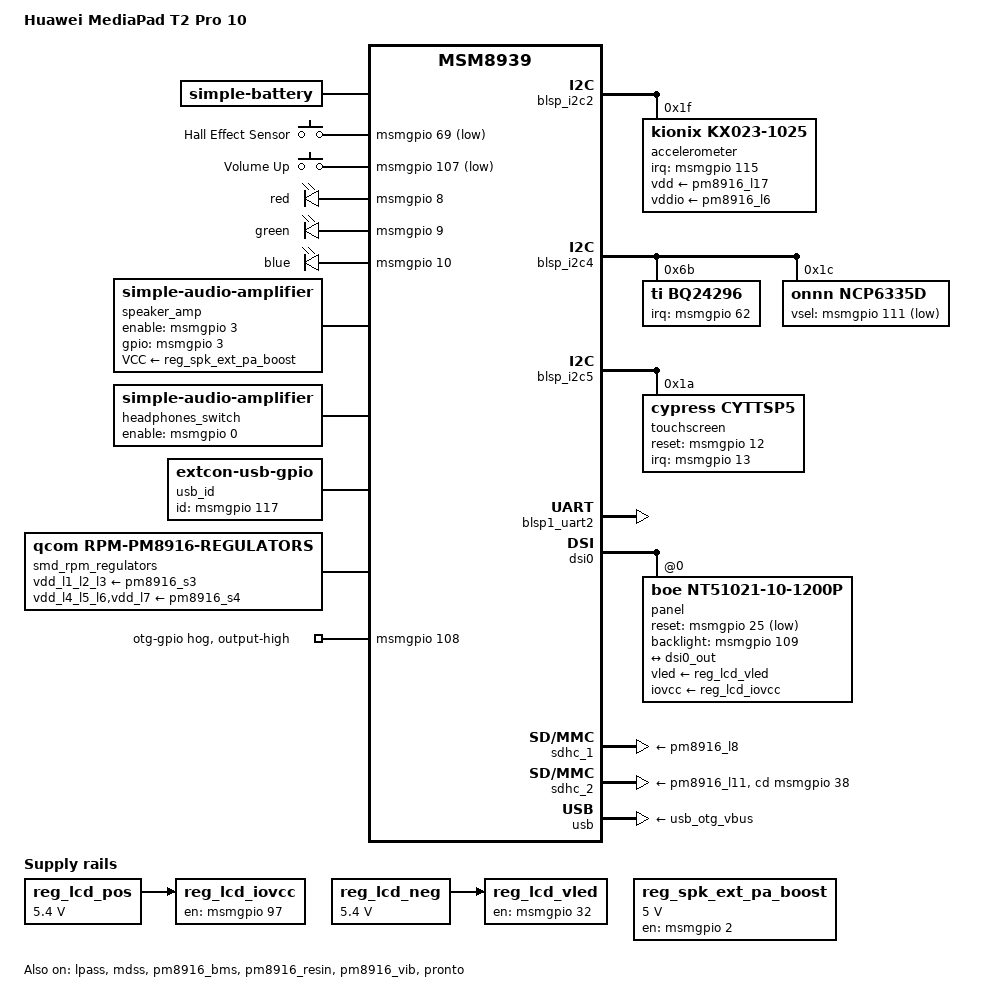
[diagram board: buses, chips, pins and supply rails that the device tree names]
// SPDX-License-Identifier: GPL-2.0-only

/dts-v1/;

#include "msm8939.dtsi"
#include "pm8916.dtsi"
#include <dt-bindings/gpio/gpio.h>
#include <dt-bindings/input/input.h>
#include <dt-bindings/interrupt-controller/irq.h>
#include <dt-bindings/sound/apq8016-lpass.h>

/ {
	model = "Huawei MediaPad T2 Pro 10";
	compatible = "huawei,federer", "qcom,msm8939";
	chassis-type = "tablet";
	qcom,msm-id = <239 0>;
	qcom,board-id =	<8000 0>, <8000 4>,
                    <8016 0>, <8016 4>,
                    <8032 0>, <8032 4>,
                    <8112 0>, <8112 4>,
                    <8128 0>, <8128 4>;

	aliases {
		serial0 = &blsp1_uart2;
	};

	chosen {
		stdout-path = "serial0";
	};

	reserved-memory {
		/delete-node/ venus@90000000;
		/delete-node/ rmtfs@86681000;
		/delete-node/ rfsa@867e0000;
		/delete-node/ mba@8ea00000;

		cont_splash_mem: framebuffer@83000000 {
			compatible = "removed-dma-pool";
			reg = <0x0 0x83000000 0x0 0x2000000>;
			no-map;
		};

		reserved@85000000 {
			reg = <0x0 0x85000000 0x0 0x1000000>;
			no-map;
		};

		rmtfs@86690000 {
			compatible = "qcom,rmtfs-mem";
			reg = <0x0 0x86690000 0x0 0x100000>;
			no-map;
			qcom,client-id = <1>;
		};

		gps_mem: gps@8c400000 {
			status = "disabled";
			reg = <0x0 0x8c400000 0x0 0x200000>;
			no-map;
		};

		tz-apps@8c700000 {
			reg = <0x0 0x8c700000 0x0 0x400000>;
			no-map;
		};

		ramoops: ramoops_mem_region@8cb00000 {
			compatible = "ramoops";
			reg = <0x0 0x8cb00000 0x0 0x200000>;

			record-size = <65536>;
			console-size = <1048576>;
			ftrace-size = <0>;
		};

		venus_mem: venus@8f800000 {
			reg = <0x0 0x8f800000 0x0 0x800000>;
			no-map;
		};

		reserved@f7800000 {
			reg = <0x0 0xf7800000 0x0 0x8400000>;
			no-map;
		};

		mba_mem: mba@ffc00000 {
			reg = <0 0xffc00000 0 0x400000>;
			no-map;
		};
	};

	bat: battery {
		compatible = "simple-battery";
		voltage-min-design-microvolt = <3400000>;
		voltage-max-design-microvolt = <4350000>;
		energy-full-design-microwatt-hours = <24700000>;
		charge-full-design-microamp-hours = <6500000>;

        precharge-current-microamp = <1300000>;
        charge-term-current-microamp = <650000>;

		ocv-capacity-celsius = <25>;
		ocv-capacity-table-0 = <4314000 100>, <4252000 95>, <4197000 90>,
					<4143000 85>, <4092000 80>, <4044000 75>, <3999000 70>,
					<3953000 65>, <3905000 60>, <3868000 55>, <3841000 50>,
					<3818000 45>, <3799000 40>, <3783000 35>, <3767000 30>,
					<3748000 25>, <3724000 20>, <3699000 16>, <3678000 13>,
					<3671000 11>, <3668000 10>, <3664000 9>, <3659000 8>,
					<3649000 7>, <3627000 6>, <3588000 5>, <3535000 4>,
					<3469000 3>, <3381000 2>, <3252000 1>, <3000000 0>;
	};

	gpio-hall-sensor {
		compatible = "gpio-keys";

		pinctrl-names = "default";
		pinctrl-0 = <&gpio_hall_sensor_default>;

		label = "GPIO Hall Effect Sensor";

		hall-sensor {
			label = "Hall Effect Sensor";
			gpios = <&msmgpio 69 GPIO_ACTIVE_LOW>;
			linux,input-type = <EV_SW>;
			linux,code = <SW_LID>;
			linux,can-disable;
		};
	};

	gpio-keys {
		compatible = "gpio-keys";

		pinctrl-names = "default";

		label = "GPIO Buttons";

		volume-up {
			label = "Volume Up";
			gpios = <&msmgpio 107 GPIO_ACTIVE_LOW>;
			linux,code = <KEY_VOLUMEUP>;
		};
	};

	leds {
		compatible = "gpio-leds";

		pinctrl-names = "default";
		pinctrl-0 = <&gpio_leds_default>;

		led-0 {
			gpios = <&msmgpio 8 GPIO_ACTIVE_HIGH>;
			label = "red";
			default-state = "off";
			retain-state-suspended;
		};

		led-1 {
			gpios = <&msmgpio 9 GPIO_ACTIVE_HIGH>;
			label = "green";
			default-state = "off";
			retain-state-suspended;
		};

		led-2 {
			gpios = <&msmgpio 10 GPIO_ACTIVE_HIGH>;
			label = "blue";
			default-state = "off";
			retain-state-suspended;
		};
	};

	reg_lcd_iovcc: iovcc {
		compatible = "regulator-fixed";
		regulator-name = "iovcc";
		vin-supply = <&reg_lcd_pos>;	
		gpio = <&msmgpio 97 GPIO_ACTIVE_HIGH>;
		enable-active-high;
		//regulator-always-on;
		regulator-boot-on;
		pinctrl-names = "default";
		pinctrl-0 = <&lcd_iovcc_default>;
	};

	reg_lcd_vled: vled {
		compatible = "regulator-fixed";
		regulator-name = "vled";
		vin-supply = <&reg_lcd_neg>;		
		gpio = <&msmgpio 32 GPIO_ACTIVE_HIGH>;
		enable-active-high;
		//regulator-always-on;
		regulator-boot-on;
		pinctrl-names = "default";
		pinctrl-0 = <&lcd_vled_default>;
	};

	reg_lcd_pos: regulator-lcd-pos {
		compatible = "regulator-fixed";
		regulator-name = "lcd_pos";
		regulator-min-microvolt = <5400000>;
		regulator-max-microvolt = <5400000>;
		//regulator-always-on;
		regulator-boot-on;
	};

	reg_lcd_neg: regulator-lcd-neg {
		compatible = "regulator-fixed";
		regulator-name = "lcd_neg";
		regulator-min-microvolt = <5400000>;
		regulator-max-microvolt = <5400000>;
		//regulator-always-on;
		regulator-boot-on;
	};

	/*reg_vcc5v0: vcc5v0 {
		compatible = "regulator-fixed";
		regulator-name = "vcc5v0";
		regulator-min-microvolt = <5000000>;
		regulator-max-microvolt = <5000000>;
		regulator-always-on;

		gpio = <&msmgpio 2 GPIO_ACTIVE_HIGH>;
		enable-active-high;
		pinctrl-names = "default";
		pinctrl-0 = <&vcc5v0_en_default>;
	};*/

	speaker_amp: audio-amplifier {
		compatible = "simple-audio-amplifier";
        VCC-supply = <&reg_spk_ext_pa_boost>;
		enable-gpios = <&msmgpio 3 GPIO_ACTIVE_HIGH>;
		sound-name-prefix = "Speaker Amp";

		gpio = <&msmgpio 3 GPIO_ACTIVE_HIGH>;
		enable-active-high;
        startup-delay-us = <100>;
		pinctrl-names = "default";
		pinctrl-0 = <&speaker_amp_default>;
	};

	headphones_switch: audio-switch {
		compatible = "simple-audio-amplifier";
		enable-gpios = <&msmgpio 0 GPIO_ACTIVE_HIGH>;

		pinctrl-names = "default";
		pinctrl-0 = <&headphones_switch_default>;
		sound-name-prefix = "Headphones Switch";
	};

	usb_id: usb-id {
		compatible = "linux,extcon-usb-gpio";
		id-gpio = <&msmgpio 117 GPIO_ACTIVE_HIGH>;
		pinctrl-names = "default";
		pinctrl-0 = <&usb_id_default>;
	};

	reg_spk_ext_pa_boost: spk-ext-pa-boost {
		compatible = "regulator-fixed";
		regulator-name = "spk_ext_pa_boost";
		regulator-min-microvolt = <5000000>;
		regulator-max-microvolt = <5000000>;

		gpio = <&msmgpio 2 GPIO_ACTIVE_HIGH>;
		enable-active-high;
		pinctrl-names = "default";
		pinctrl-0 = <&spk_ext_pa_boost_default>;
	};
};

&blsp_dma {
	status = "okay";
};

&blsp_i2c2 {
	status = "okay";

	accelerometer@1f {
		compatible = "kionix,kx023-1025";
		reg = <0x1f>;

		interrupt-parent = <&msmgpio>;
		interrupts = <115 IRQ_TYPE_EDGE_RISING>;

		vdd-supply = <&pm8916_l17>;
		vddio-supply = <&pm8916_l6>;

		pinctrl-names = "default";
		pinctrl-0 = <&accel_irq_default>;

		mount-matrix =  "-1", "0", "0",
				"0", "-1", "0",
				"0", "0", "1";
        };
};

&blsp_i2c4 {
	status = "okay";

	/* charger: bq24296@6B { // fot ti reference driver
		compatible = "ti,bq24296";
		reg = <0x6B>;
		
		//monitored-battery = <&bat>;
		interrupt-parent = <&msmgpio>;
		interrupts = <62 IRQ_TYPE_EDGE_FALLING>;
		
		pinctrl-names = "default", "sleep";
		pinctrl-0 = <&bq_irq_default>; // &bq_dc_irq_default>;
		pinctrl-1 = <&bq_irq_sleep>;
		
		ti,bq2429x,usb-vlim = <4400>;
		ti,bq2429x,usb-ilim = <500>;
		ti,bq2429x,usb-ichg = <500>;
		ti,bq2429x,usb-vreg = <4200>;

		ti,bq2429x,ta-vlim = <4400>;
		ti,bq2429x,ta-ilim = <2000>;
		ti,bq2429x,ta-ichg = <2000>;
		ti,bq2429x,ta-vreg = <4200>;		
			
		ti,bq2429x,precharge-current = <180>;
		ti,bq2429x,termination-current = <180>;
		ti,bq2429x,boost-volt = <5000>;
		ti,bq2429x,enable_term;
	};*/

	/*charger: bq24296@6b { //charger gd
		compatible = "ti,bq24296";
		reg = <0x6b>;

		monitored-battery = <&bat>;
		ti,chg_current = <1000 500 2000>; // chg_current (max for the battery), usb_input_current, adp_input_current

		interrupt-parent = <&msmgpio>;
		interrupts = <62 IRQ_TYPE_EDGE_FALLING>;
		dc-det = <108 GPIO_ACTIVE_LOW>;*/
		
		/*pinctrl-names = "default", "sleep";
		pinctrl-0 = <&bq_irq_default &bq_dc_default>;
		pinctrl-1 = <&bq_irq_sleep>;*/

	/*	regulators {
			vsys_reg: vsys_regulator {
				regulator-compatible = "bq2429x-vsys";
				regulator-name = "vsys";
//				regulator-min-microvolt = <3500000>;
//				regulator-max-microvolt = <4200000>;
				regulator-always-on;
				regulator-boot-on;
			};
			otg_reg: otg_regulator {
				regulator-compatible = "bq2429x-otg";
				regulator-name = "otg";
//				regulator-min-microvolt = <4900000>;
//				regulator-max-microvolt = <5100000>;
			};
		};
	};*/

	bq24296: charger@6b {
		compatible = "ti,bq24296";
		reg = <0x6b>;

		interrupt-parent = <&msmgpio>;
		interrupts = <62 IRQ_TYPE_EDGE_FALLING>;
		pinctrl-names = "default";
		pinctrl-0 = <&charger_irq_default &chg_ctl_default>; // &otg_en>;
		ti,system-minimum-microvolt = <3200000>;
		monitored-battery = <&bat>;
		omit-battery-class;

		usb_otg_vbus: usb-otg-vbus { };
	};

	ncp6335d: ncp6335d-regulator@1c {
		compatible = "onnn,ncp6335d";
		reg = <0x1c>;
		pinctrl-names = "default";
		pinctrl-0 = <&ext_buck_vsel>;
		regulator-min-microvolt = <1050000>;
		regulator-max-microvolt = <1350000>;
		regulator-always-on; // otherwise device ~shuts off after ~30s
		onnn,vsel = <0>;
		onnn,slew-ns = <3333>;
		onnn,step-size = <6250>;
		onnn,min-slew-ns = <416>;
		onnn,max-slew-ns = <3333>;
		onnn,min-setpoint = <600000>;
		onnn,vsel-gpio = <&msmgpio 111 GPIO_ACTIVE_LOW>;
		onnn,discharge-enable;
		onnn,restore-reg;
	};

	fan53555: fan53555-regulator@60 {
		status = "disabled";
		compatible = "fcs,fan53555";
		reg = <0x60>;
		pinctrl-names = "default";
		pinctrl-0 = <&ext_buck_vsel>;
		regulator-min-microvolt =  <1050000>;
		regulator-max-microvolt = <1350000>;
		regulator-ramp-delay = <1250>;
		regulator-always-on;
		vsel-gpios = <&msmgpio 111 GPIO_ACTIVE_LOW>;
	};
};

&blsp_i2c5 {
	status = "okay";

	touchscreen@1a {
		compatible = "cypress,cyttsp5";
		reg = <0x1a>;

		interrupt-parent = <&msmgpio>;
		interrupts = <13 0x2008>;
		reset-gpios = <&msmgpio 12 0x0>;
	};
};

&blsp1_uart2 {
	status = "okay";
};

&dsi0 {
	/*pinctrl-names = "default", "sleep";
	pinctrl-0 = <&mdss_default>;
	pinctrl-1 = <&mdss_sleep>;*/

	panel@0 {
		compatible = "boe,nt51021-10-1200p";
		reg = <0>;

		vled-supply = <&reg_lcd_vled>;
		iovcc-supply = <&reg_lcd_iovcc>;
		//pp1800-supply = <&pp1800_lcd>;

		reset-gpios = <&msmgpio 25 GPIO_ACTIVE_LOW>;
		backlight-gpios = <&msmgpio 109 GPIO_ACTIVE_HIGH>;

		port {
			panel_in: endpoint {
				remote-endpoint = <&dsi0_out>;
			};
		};
	};
};

&dsi0_out {
	data-lanes = <0 1 2 3>;
	remote-endpoint = <&panel_in>;
};

&dsi_phy0 {
	qcom,dsi-phy-regulator-ldo-mode;
};

&lpass {
	status = "okay";
};

&mdss {
	status = "okay";
};

&pm8916_bms {
	status = "okay";

	monitored-battery = <&bat>;
	power-supplies = <&bq24296>;
};

&pm8916_resin {
	status = "okay";
	linux,code = <KEY_VOLUMEDOWN>;
};

&pm8916_vib {
	status = "okay";
};

&pronto {
	status = "okay";

	iris {
		compatible = "qcom,wcn3660b";
	};
};

&sdhc_1 {
	status = "okay";

	vmmc-supply = <&pm8916_l8>;
	vqmmc-supply = <&pm8916_l5>;

	pinctrl-names = "default", "sleep";
	pinctrl-0 = <&sdc1_clk_on &sdc1_cmd_on &sdc1_data_on>;
	pinctrl-1 = <&sdc1_clk_off &sdc1_cmd_off &sdc1_data_off>;
};

&sdhc_2 {
	status = "okay";

	vmmc-supply = <&pm8916_l11>;
	vqmmc-supply = <&pm8916_l12>;

	pinctrl-names = "default", "sleep";
	pinctrl-0 = <&sdc2_clk_on &sdc2_cmd_on &sdc2_data_on &sdc2_cd_on>;
	pinctrl-1 = <&sdc2_clk_off &sdc2_cmd_off &sdc2_data_off &sdc2_cd_off>;

	cd-gpios = <&msmgpio 38 GPIO_ACTIVE_HIGH>;
};

&sound {
	status = "okay";

	pinctrl-names = "default", "sleep";

	pinctrl-0 = <&cdc_pdm_lines_act>;
	pinctrl-1 = <&cdc_pdm_lines_sus>;

	model = "oppo-a51f";
	audio-routing =
		"Speaker Amp INL", "HPH_L_EXT",
		"Speaker Amp INR", "HPH_R_EXT",
		"Headphones Switch INL", "HPH_L",
		"Headphones Switch INR", "HPH_R",
		"AMIC1", "MIC BIAS External1",
		"AMIC2", "MIC BIAS External2",
		"AMIC3", "MIC BIAS External1";
	aux-devs = <&speaker_amp>, <&headphones_switch>;

	dai-link-primary {
		link-name = "Primary MI2S";
		cpu {
			sound-dai = <&lpass MI2S_PRIMARY>;
		};
		codec {
			sound-dai = <&lpass_codec 0>, <&wcd_codec 0>;
		};
	};

	dai-link-tertiary {
		link-name = "Tertiary MI2S";
		cpu {
			sound-dai = <&lpass MI2S_TERTIARY>;
		};
		codec {
			sound-dai = <&lpass_codec 1>, <&wcd_codec 1>;
		};
	};
};

&usb {
	status = "okay";
	extcon = <&bq24296>, <&usb_id>;
	vbus-supply = <&usb_otg_vbus>;
};

&usb_hs_phy {
	extcon = <&bq24296>;
	v1p8-supply = <&pm8916_l7>;
	v3p3-supply = <&pm8916_l13>;
};

&wcd_codec {
	qcom,micbias-lvl = <2800>;
	qcom,mbhc-vthreshold-low = <75 150 237 450 500>;
	qcom,mbhc-vthreshold-high = <75 150 237 450 500>;
	qcom,micbias1-ext-cap;
	qcom,hphl-jack-type-normally-open;
};

&rpm_requests {
	smd_rpm_regulators: pm8916-regulators {
		compatible = "qcom,rpm-pm8916-regulators";
		vdd_l1_l2_l3-supply = <&pm8916_s3>;
		vdd_l4_l5_l6-supply = <&pm8916_s4>;
		vdd_l7-supply = <&pm8916_s4>;

		pm8916_s3: s3 {
			regulator-min-microvolt = <1200000>;
			regulator-max-microvolt = <1300000>;
		};

		pm8916_s4: s4 {
			regulator-min-microvolt = <1800000>;
			regulator-max-microvolt = <2100000>;
		};

		pm8916_l1: l1 {
			regulator-min-microvolt = <1225000>;
			regulator-max-microvolt = <1225000>;
		};

		pm8916_l2: l2 {
			regulator-min-microvolt = <1200000>;
			regulator-max-microvolt = <1200000>;
		};

		pm8916_l4: l4 {
			regulator-min-microvolt = <2050000>;
			regulator-max-microvolt = <2050000>;
		};

		pm8916_l5: l5 {
			regulator-min-microvolt = <1800000>;
			regulator-max-microvolt = <1800000>;
			regulator-always-on; /* keep it ? */
		};

		pm8916_l6: l6 {
			regulator-min-microvolt = <1800000>;
			regulator-max-microvolt = <1800000>;
			regulator-always-on;
		};

		pm8916_l7: l7 {
			regulator-min-microvolt = <1800000>;
			regulator-max-microvolt = <1800000>;
		};

		pm8916_l8: l8 {
			regulator-min-microvolt = <2950000>;
			regulator-max-microvolt = <2950000>;
		};

		pm8916_l9: l9 {
			regulator-min-microvolt = <3300000>;
			regulator-max-microvolt = <3300000>;
		};

		pm8916_l10: l10 {
			regulator-min-microvolt = <2700000>;
			regulator-max-microvolt = <2800000>;
		};

		pm8916_l11: l11 {
			regulator-min-microvolt = <1800000>;
			regulator-max-microvolt = <2950000>;
			regulator-allow-set-load;
			regulator-system-load = <200000>;
		};

		pm8916_l12: l12 {
			regulator-min-microvolt = <1800000>;
			regulator-max-microvolt = <2950000>;
		};

		pm8916_l13: l13 {
			regulator-min-microvolt = <3075000>;
			regulator-max-microvolt = <3075000>;
		};

		pm8916_l14: l14 {
			regulator-min-microvolt = <1800000>;
			regulator-max-microvolt = <3300000>;
		};

		pm8916_l15: l15 {
			regulator-min-microvolt = <1800000>;
			regulator-max-microvolt = <3300000>;
		};

		pm8916_l16: l16 {
			regulator-min-microvolt = <1800000>;
			regulator-max-microvolt = <3300000>;
		};

		pm8916_l17: l17 {
			regulator-min-microvolt = <2850000>;
			regulator-max-microvolt = <2850000>;
		};

		pm8916_l18: l18 {
			regulator-min-microvolt = <2700000>;
			regulator-max-microvolt = <2700000>;
		};
	};
};

&msmgpio {
	accel_irq_default: accel-irq-default {
		pins = "gpio115";
		function = "gpio";

		drive-strength = <2>;
		bias-disable;
	};

    bq24296 {
        charger_irq_default: charger-irq-default {
			pins = "gpio62";
			function = "gpio";

			drive-strength = <2>;
			bias-pull-up;
	};
        chg_ctl_default: chg-ctl-default {
			pins = "gpio62";
			function = "gpio";

			drive-strength = <2>;
            output-high;
        };
    };

	ext_buck_vsel: ext-buck-vsel {
		pins = "gpio111";
		function = "gpio";

		drive-strength = <2>;
	};

	gpio_hall_sensor_default: gpio-hall-sensor-default {
		pins = "gpio69";
		function = "gpio";

		drive-strength = <2>;
		bias-disable;
	};

	gpio_leds_default: gpio-leds-default {
		pins = "gpio8", "gpio9", "gpio10";
		function = "gpio";

		drive-strength = <2>;
		bias-disable;
	};

	headphones_switch_default: headphones-switch-default {
		pins = "gpio0";
		function = "gpio";

		drive-strength = <2>;
		bias-disable;
	};

	lcd_iovcc_default: lcd-iovcc-default {
		pins = "gpio97";
		function = "gpio";

		drive-strength = <2>;
		output-low;
	};

	lcd_vled_default: lcd-vled-default {
		pins = "gpio32";
		function = "gpio";

		drive-strength = <2>;
		output-low;
	};

	/*mdss {
		mdss_default: mdss-default {
			pins = "gpio25";
			function = "gpio";

			drive-strength = <8>;
			bias-disable;
		};
		mdss_sleep: mdss-sleep {
			pins = "gpio25";
			function = "gpio";

			drive-strength = <2>;
			bias-pull-down;
		};
	};*/

	/*bq {
		bq_irq_default: bq-irq-default {
			pins = "gpio62";
			function = "gpio";

			drive-strength = <2>;
			bias-pull-up;
		};
		bq_irq_sleep: bq-irq-sleep {
			pins = "gpio62";
			function = "gpio";

			drive-strength = <2>;
			bias-pull-up;
		};
	};*/

	speaker_amp_default: speaker-amp-default {
		pins = "gpio3";
		function = "gpio";

		drive-strength = <2>;
		bias-disable;
	};

	spk_ext_pa_boost_default: spk-ext-pa-boost-default {
		pins = "gpio2";
		function = "gpio";

		drive-strength = <2>;
		bias-disable;
	};

	usb_id_default: usb-id-default {
		pins = "gpio117";
		function = "gpio";

		drive-strength = <8>;
		bias-pull-up;
	};

    otg {
        gpio-hog;
        gpios = <108 GPIO_ACTIVE_HIGH>;
        output-high;
        line-name = "otg-gpio";
    };
};
